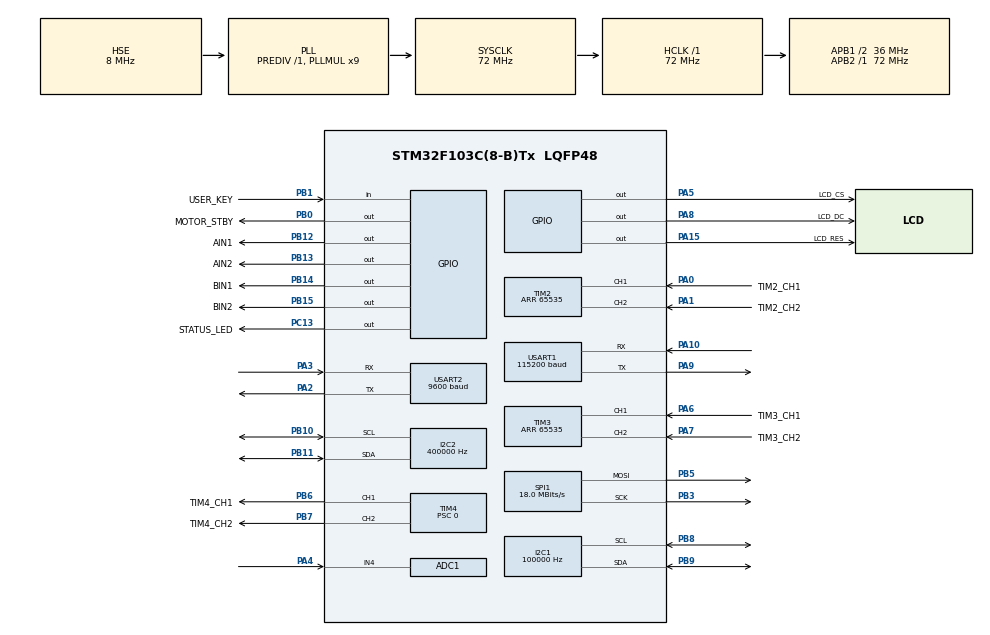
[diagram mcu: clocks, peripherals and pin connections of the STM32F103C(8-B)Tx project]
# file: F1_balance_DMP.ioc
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ADC1.Channel-0\#ChannelRegularConversion=ADC_CHANNEL_4
ADC1.Rank-0\#ChannelRegularConversion=1
ADC1.SamplingTime-0\#ChannelRegularConversion=ADC_SAMPLETIME_55CYCLES_5
ADC1.master=1
Dma.Request0=SPI1_TX
Dma.SPI1_TX.0.Direction=DMA_MEMORY_TO_PERIPH
Dma.SPI1_TX.0.Instance=DMA1_Channel3
Dma.SPI1_TX.0.MemDataAlignment=DMA_MDATAALIGN_BYTE
Dma.SPI1_TX.0.MemInc=DMA_MINC_ENABLE
Dma.SPI1_TX.0.Mode=DMA_NORMAL
Dma.SPI1_TX.0.PeriphDataAlignment=DMA_PDATAALIGN_BYTE
Dma.SPI1_TX.0.PeriphInc=DMA_PINC_DISABLE
Dma.SPI1_TX.0.Priority=DMA_PRIORITY_LOW
I2C1.ClockSpeed=100000
I2C2.ClockSpeed=400000
Mcu.Family=STM32F1
Mcu.Name=STM32F103C(8-B)Tx
Mcu.Package=LQFP48
NVIC.DMA1_Channel3_IRQn=true\:3\:0\:false\:false\:true\:false\:true\:true
NVIC.PriorityGroup=NVIC_PRIORITYGROUP_4
NVIC.TIM1_UP_IRQn=true\:2\:0\:true\:false\:true\:true\:true\:true
NVIC.USART1_IRQn=true\:1\:0\:true\:false\:true\:true\:true\:true
NVIC.USART2_IRQn=true\:0\:0\:false\:false\:true\:true\:true\:true
PA0-WKUP.GPIO_Label=TIM2_CH1
PA0-WKUP.Signal=S_TIM2_CH1_ETR
PA1.GPIO_Label=TIM2_CH2
PA1.Signal=S_TIM2_CH2
PA10.Mode=Asynchronous
PA10.Signal=USART1_RX
PA13.Mode=Serial_Wire
PA13.Signal=SYS_JTMS-SWDIO
PA14.Mode=Serial_Wire
PA14.Signal=SYS_JTCK-SWCLK
PA15.GPIO_Label=LCD_RES
PA15.GPIO_Speed=GPIO_SPEED_FREQ_HIGH
PA15.PinState=GPIO_PIN_SET
PA15.Signal=GPIO_Output
PA2.Mode=Asynchronous
PA2.Signal=USART2_TX
PA3.Mode=Asynchronous
PA3.Signal=USART2_RX
PA4.Signal=ADCx_IN4
PA5.GPIO_Label=LCD_CS
PA5.GPIO_Speed=GPIO_SPEED_FREQ_HIGH
PA5.PinState=GPIO_PIN_SET
PA5.Signal=GPIO_Output
PA6.GPIO_Label=TIM3_CH1
PA6.Signal=S_TIM3_CH1
PA7.GPIO_Label=TIM3_CH2
PA7.Signal=S_TIM3_CH2
PA8.GPIO_Label=LCD_DC
PA8.GPIO_Speed=GPIO_SPEED_FREQ_HIGH
PA8.PinState=GPIO_PIN_SET
PA8.Signal=GPIO_Output
PA9.Mode=Asynchronous
PA9.Signal=USART1_TX
PB0.GPIO_Label=MOTOR_STBY
PB0.Signal=GPIO_Output
PB1.GPIO_Label=USER_KEY
PB1.GPIO_PuPd=GPIO_PULLUP
PB1.Signal=GPIO_Input
PB10.Mode=I2C
PB10.Signal=I2C2_SCL
PB11.Mode=I2C
PB11.Signal=I2C2_SDA
PB12.GPIO_Label=AIN1
PB12.Signal=GPIO_Output
PB13.GPIO_Label=AIN2
PB13.Signal=GPIO_Output
PB14.GPIO_Label=BIN1
PB14.Signal=GPIO_Output
PB15.GPIO_Label=BIN2
PB15.Signal=GPIO_Output
PB3.Mode=TX_Only_Simplex_Unidirect_Master
PB3.Signal=SPI1_SCK
PB5.Mode=TX_Only_Simplex_Unidirect_Master
PB5.Signal=SPI1_MOSI
PB6.GPIO_Label=TIM4_CH1
PB6.Signal=S_TIM4_CH1
PB7.GPIO_Label=TIM4_CH2
PB7.Signal=S_TIM4_CH2
PB8.Mode=I2C
PB8.Signal=I2C1_SCL
PB9.Mode=I2C
PB9.Signal=I2C1_SDA
PC13-TAMPER-RTC.GPIO_Label=STATUS_LED
PC13-TAMPER-RTC.Signal=GPIO_Output
PD0-OSC_IN.Mode=HSE-External-Oscillator
PD0-OSC_IN.Signal=RCC_OSC_IN
PD1-OSC_OUT.Mode=HSE-External-Oscillator
PD1-OSC_OUT.Signal=RCC_OSC_OUT
ProjectManager.HeapSize=0x200
ProjectManager.StackSize=0x800
ProjectManager.TargetToolchain=CMake
RCC.ADCPresc=RCC_ADCPCLK2_DIV6
RCC.AHBFreq_Value=72000000
RCC.APB1CLKDivider=RCC_HCLK_DIV2
RCC.APB1Freq_Value=36000000
RCC.APB1TimFreq_Value=72000000
RCC.APB2Freq_Value=72000000
RCC.APB2TimFreq_Value=72000000
RCC.HCLKFreq_Value=72000000
RCC.PLLMUL=RCC_PLL_MUL9
RCC.PLLSourceVirtual=RCC_PLLSOURCE_HSE
RCC.SYSCLKFreq_VALUE=72000000
RCC.SYSCLKSource=RCC_SYSCLKSOURCE_PLLCLK
RCC.USBFreq_Value=72000000
SH.ADCx_IN4.0=ADC1_IN4,IN4
SH.S_TIM2_CH1_ETR.0=TIM2_CH1,Encoder_Interface
SH.S_TIM2_CH2.0=TIM2_CH2,Encoder_Interface
SH.S_TIM3_CH1.0=TIM3_CH1,Encoder_Interface
SH.S_TIM3_CH2.0=TIM3_CH2,Encoder_Interface
SH.S_TIM4_CH1.0=TIM4_CH1,PWM Generation1 CH1
SH.S_TIM4_CH2.0=TIM4_CH2,PWM Generation2 CH2
SPI1.BaudRatePrescaler=SPI_BAUDRATEPRESCALER_4
SPI1.CLKPhase=SPI_PHASE_1EDGE
SPI1.CLKPolarity=SPI_POLARITY_LOW
SPI1.CalculateBaudRate=18.0 MBits/s
SPI1.Direction=SPI_DIRECTION_2LINES
SPI1.Mode=SPI_MODE_MASTER
SPI1.VirtualType=VM_MASTER
TIM1.Period=49
TIM1.Prescaler=7199
TIM2.EncoderMode=TIM_ENCODERMODE_TI12
TIM2.IC1Filter=6
TIM2.IC2Filter=6
TIM2.Period=65535
TIM3.EncoderMode=TIM_ENCODERMODE_TI12
TIM3.IC1Filter=6
TIM3.IC2Filter=6
TIM3.Period=65535
TIM4.Channel-PWM\ Generation1\ CH1=TIM_CHANNEL_1
TIM4.Channel-PWM\ Generation2\ CH2=TIM_CHANNEL_2
TIM4.Period=3599
TIM4.Prescaler=0
USART1.BaudRate=115200
USART1.VirtualMode=VM_ASYNC
USART2.BaudRate=9600
USART2.VirtualMode=VM_ASYNC
VP_TIM1_VS_ClockSourceINT.Mode=Internal
VP_TIM4_VS_ClockSourceINT.Mode=Internal
board=custom

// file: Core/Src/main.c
/* USER CODE BEGIN Header */
/**
  ******************************************************************************
  * @file           : main.c
  * @brief          : Main program body
  ******************************************************************************
  * @attention
  *
  * Copyright (c) 2026 STMicroelectronics.
  * All rights reserved.
  *
  * This software is licensed under terms that can be found in the LICENSE file
  * in the root directory of this software component.
  * If no LICENSE file comes with this software, it is provided AS-IS.
  *
  ******************************************************************************
  */
/* USER CODE END Header */
#include "main.h"
#include "adc.h"
#include "dma.h"
#include "i2c.h"
#include "spi.h"
#include "tim.h"
#include "usart.h"
#include "gpio.h"

/* USER CODE BEGIN Includes */
#include <stdio.h>
#include "balance.h"
#include "uart_cmd.h"
#include "motor.h"
#include "st7789.h"
#include "dmp_platform.h"
#include "pid.h"
/* USER CODE END Includes */

void SystemClock_Config(void);

/* USER CODE BEGIN 0 */

/*==============================重定义printf===============================*/
int fputc(int ch, FILE *stream)
{
    (void)stream;
    return UART_SendByte((uint8_t)ch) ? (int)(uint8_t)ch : EOF;
}
/* USER CODE END 0 */

int main(void)
{

  /* MCU Configuration--------------------------------------------------------*/

  /* Reset of all peripherals, Initializes the Flash interface and the Systick. */
  HAL_Init();

  /* Configure the system clock */
  SystemClock_Config();

  /* Initialize all configured peripherals */
  MX_GPIO_Init();
  MX_DMA_Init();
  MX_TIM1_Init();
  MX_TIM2_Init();
  MX_TIM3_Init();
  MX_TIM4_Init();
  MX_USART1_UART_Init();
  MX_ADC1_Init();
  MX_USART2_UART_Init();
  MX_I2C1_Init();
  MX_I2C2_Init();
  MX_SPI1_Init();
  /* USER CODE BEGIN 2 */
  /* =====================	关 JTAG，释放 PB3/PB4 等引脚，留 SWD 调试用 ===================*/
  __HAL_AFIO_REMAP_SWJ_NOJTAG();
/*
 * 先开启调参串口,后续好输出报告
 * 校准ADC
 */
  if (UART_Start(&huart2) != HAL_OK) Error_Handler();
  if (HAL_ADCEx_Calibration_Start(&hadc1) != HAL_OK) Error_Handler();
  /* 防止读取DMP时候卡顿明显 */
  ST7789_Init();
  ST7789_Poll();
  DMP_PlatformSetStartupPoll(ST7789_Poll);
  UART_Printf("I2C MPU6050/MPU6500 v11 CAL-STATS AUTO-START TILT45 RECOVER200ms; SCL=PB10 SDA=PB11 addr=0x68\r\n");
  /*
   * Balance_Init 初始化控制器和硬件，并进入姿态校准阶段，尚不立即转动电机
   * 启动 TIM1 中断，200Hz（5ms）控制节拍，到点触发 Balance_OnTickISR 提交控制节拍
   */
  if (Balance_Init() != HAL_OK)
      UART_Printf("Balance init FAILED; STATE=%u FAULT=%u\r\n",
                  (unsigned)balance_state, (unsigned)balance_fault);
  if (HAL_TIM_Base_Start_IT(&htim1) != HAL_OK) Error_Handler();
  UART_Printf("Balance 200Hz; PWM 20kHz; PB1 active-low press toggles START/STOP\r\n");
  UART_Printf("Hold upright and still; auto-start after calibration; PB1 toggles STOP/START\r\n");
  uint32_t last_lcd_snapshot = HAL_GetTick() - 200U;
  uint8_t last_lcd_status = 255U;
  UART_Printf("I2C1 PB8/PB9 100k; I2C2 MPU PB10/PB11 400k; LCD SPI1 PB3/PB5 DMA\r\n");
  uint32_t last_print = HAL_GetTick();                                              //VOFA 上位机绘图数据的时间标志
  uint32_t last_led = HAL_GetTick();                                                //PC13 状态灯翻转的时间标志
  uint32_t last_diag_print = HAL_GetTick();                                         //打完整诊断信息的时间标志
  /* USER CODE END 2 */

  /* Infinite loop */
  /* USER CODE BEGIN WHILE */
  /*
   * 主循环快速轮询，不固定延时5ms：Balance_Poll 内部由 TIM1 中断提交的节拍决定是否执行PID计算，
   * 按键扫描、串口命令处理也在主循环轮询，避免在中断里做耗时操作。
   */
while (1)
  {
    Balance_Poll();
    Balance_KeyPoll();
    UART_Poll();
    uint32_t now = HAL_GetTick();
    /*
     * 基础信息如果出故障就5s打印一次，没有就1s打印一次，防止数据打印太多，波特率太低卡死
     * 100ms发一次数据，但是在报错情况下不发送数据
     */
    if ((uint32_t)(now - last_diag_print) >=
        (balance_state == BALANCE_RUNNING ? 5000U : 1000U)) {
        last_diag_print = now;
        Balance_PrintDiagnostics();
    }
    if (balance_state != BALANCE_FAULT && (uint32_t)(now - last_print) >= 100U) {
        last_print = now;
        /*
         *  输出当前角度，角速度，A轮速度，B轮速度，平均速度，直立环输出的PWM
         *  速度目标，速度环输出量，速度环积分输出量，直立环P输出量，直立环D输出量
         *  位置环输出量，转向环输出量,转向环误差
         */
        UART_Printf(":%.2f,%.2f,%.2f,%.2f,%.2f,%.2f,%.2f,%.2f,%.2f,%.2f,%.2f,%.2f,%.2f,%.2f\r\n",
                    angle, raw_gx, speedA, speedB, speed_filt, balance_pwm,
                    position_speed_target, pid_speed.output, pid_speed.integral,
                    pid_balance.kp * pid_balance.error, -pid_balance.kd * raw_gx,
                    pid_position.output,pid_turn.output,pid_turn.error);
    }

    /*
     * 如果正常校准好，就一直常亮，否则用标志位判断防止堵塞，实现约250ms反转一次电平
     */
    if (balance_state == BALANCE_RUNNING)
        HAL_GPIO_WritePin(STATUS_LED_GPIO_Port, STATUS_LED_Pin, GPIO_PIN_RESET);
    else if ((uint32_t)(now - last_led) >= 250U) {
        last_led = now;
        HAL_GPIO_TogglePin(STATUS_LED_GPIO_Port, STATUS_LED_Pin);
    }
    /* 约每 200ms 抓取一次LCD画面，200ms即不卡顿也占用不高 */
    if ((uint32_t)(now - last_lcd_snapshot) >= 200U) {
        ST7789_Status display;
        last_lcd_snapshot = now;
        display.state = (uint8_t)balance_state;                                   // 当前平衡车状态：0=校准中，1=就绪，2=运行，3=故障停机
        display.fault = balance_fault;                                            // 故障码：0=无故障，1=IMU传感器故障，2=倾倒停机，3=硬件故障
        display.angle = angle;                                                    // 当前车身倾角（DMP四元数滤波后，单位度）
        display.gyro = raw_gx;                                                    // 当前X轴角速度（扣完零偏，单位度/秒）
        display.encoder_a = speedA;                                               // 左轮编码器速度（5ms内计数增量）
        display.encoder_b = speedB;                                               // 右轮编码器速度（5ms内计数增量）
        display.pwm_a = __HAL_TIM_GET_COMPARE(&htim4, TIM_CHANNEL_1);  // 左轮电机实际PWM占空比（直接读定时器CCR寄存器）
        display.pwm_b = __HAL_TIM_GET_COMPARE(&htim4, TIM_CHANNEL_2);  // 右轮电机实际PWM占空比
        display.stby = (HAL_GPIO_ReadPin(STBY_PORT, STBY_PIN) == GPIO_PIN_SET);   // 电机驱动使能状态：1=开，0=关
        display.key = (HAL_GPIO_ReadPin(USER_KEY_GPIO_Port, USER_KEY_Pin) == GPIO_PIN_RESET);  // PB1按键状态：1=按下，0=松开

        ST7789_SetStatus(&display);
    }
    ST7789_Poll();
    /*将上一次状态替换成这一次状态*/
    if (ST7789_GetStatus() != last_lcd_status) {
        last_lcd_status = ST7789_GetStatus();
        UART_Printf("LCD SPI/DMA status=%u (0=init 1=TX-ready 2=TX-failed)\r\n", (unsigned)last_lcd_status);
    }
    /* USER CODE END WHILE */

  }
}

void SystemClock_Config(void)
{
  RCC_OscInitTypeDef RCC_OscInitStruct = {0};
  RCC_ClkInitTypeDef RCC_ClkInitStruct = {0};
  RCC_PeriphCLKInitTypeDef PeriphClkInit = {0};

  /** Initializes the RCC Oscillators according to the specified parameters
  * in the RCC_OscInitTypeDef structure.
  */
  RCC_OscInitStruct.OscillatorType = RCC_OSCILLATORTYPE_HSE;
  RCC_OscInitStruct.HSEState = RCC_HSE_ON;
  RCC_OscInitStruct.HSEPredivValue = RCC_HSE_PREDIV_DIV1;
  RCC_OscInitStruct.HSIState = RCC_HSI_ON;
  RCC_OscInitStruct.PLL.PLLState = RCC_PLL_ON;
  RCC_OscInitStruct.PLL.PLLSource = RCC_PLLSOURCE_HSE;
  RCC_OscInitStruct.PLL.PLLMUL = RCC_PLL_MUL9;
  if (HAL_RCC_OscConfig(&RCC_OscInitStruct) != HAL_OK)
  {
    Error_Handler();
  }

  /** Initializes the CPU, AHB and APB buses clocks
  */
  RCC_ClkInitStruct.ClockType = RCC_CLOCKTYPE_HCLK|RCC_CLOCKTYPE_SYSCLK
                              |RCC_CLOCKTYPE_PCLK1|RCC_CLOCKTYPE_PCLK2;
  RCC_ClkInitStruct.SYSCLKSource = RCC_SYSCLKSOURCE_PLLCLK;
  RCC_ClkInitStruct.AHBCLKDivider = RCC_SYSCLK_DIV1;
  RCC_ClkInitStruct.APB1CLKDivider = RCC_HCLK_DIV2;
  RCC_ClkInitStruct.APB2CLKDivider = RCC_HCLK_DIV1;

  if (HAL_RCC_ClockConfig(&RCC_ClkInitStruct, FLASH_LATENCY_2) != HAL_OK)
  {
    Error_Handler();
  }
  PeriphClkInit.PeriphClockSelection = RCC_PERIPHCLK_ADC;
  PeriphClkInit.AdcClockSelection = RCC_ADCPCLK2_DIV6;
  if (HAL_RCCEx_PeriphCLKConfig(&PeriphClkInit) != HAL_OK)
  {
    Error_Handler();
  }
}

void Error_Handler(void)
{
  /* USER CODE BEGIN Error_Handler_Debug */
/*
 * 初始化等关键操作失败会到这里：先停机，再关中断并等待复位�??
 */
Motor_Disable();
  __disable_irq();
  while (1) { }
  /* USER CODE END Error_Handler_Debug */
}
